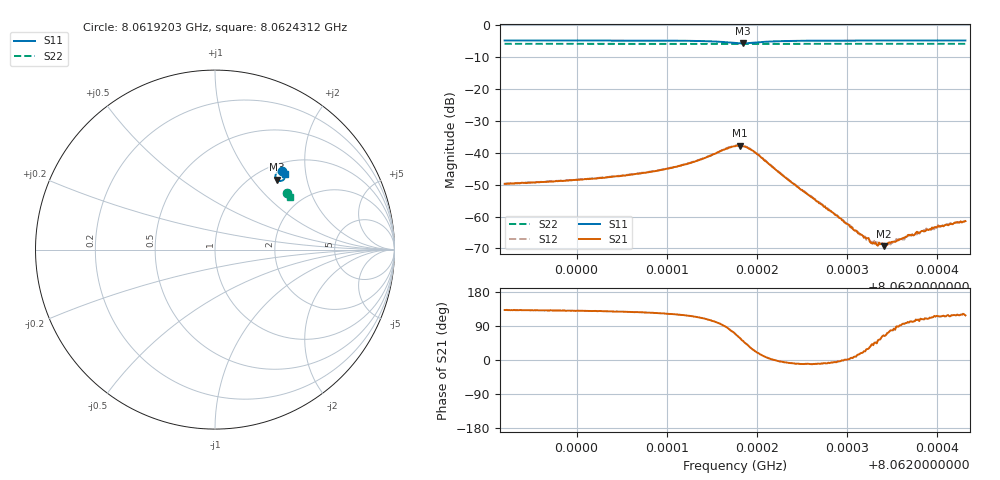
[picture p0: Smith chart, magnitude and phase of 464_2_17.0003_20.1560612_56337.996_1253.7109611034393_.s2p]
#  HZ  S  RI  R  50.00
! Rohde & Schwarz Vector Network Analyzer
! Rohde-Schwarz,ZNB20-2Port,1311601062101988,3.16
! Created: UTC 3/20/2024, 11:12:53 PM
! freq[Hz]  re:S11  im:S11  re:S21  im:S21  re:S12  im:S12  re:S22  im:S22
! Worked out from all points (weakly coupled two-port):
!   401 points, 8.0619203 GHz to 8.0624312 GHz, reference 50 ohm
!   highest |S21| = -37.74 dB at 8.0621808 GHz (marker M1); lowest = -69.3 dB at 8.0623405 GHz (marker M2)
!   lowest |S11| = -5.7 dB at 8.0621847 GHz (marker M3), VSWR 3.17, Z = 62.7 + j67 ohm
!   |S11| at or under -10 dB: nowhere
!   |S22| runs from -5.9 to -5.8 dB; largest |S21 - S12| = 0.0009
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8.06192027e9  0.3718 0.44  -0.00218 0.00242  -0.00202 0.00257  0.4009 0.3161
8.06200585e9  0.3783 0.434  -0.00245 0.00293  -0.00228 0.00308  0.4041 0.3116
8.06205566e9  0.3825 0.429  -0.00269 0.00356  -0.00253 0.00374  0.406 0.309
8.06209143e9  0.3861 0.4237  -0.00293 0.00442  -0.00269 0.00461  0.4073 0.307
8.06212847e9  0.3897 0.4131  -0.00305 0.00639  -0.00269 0.00665  0.4084 0.3048
8.06217573e9  0.3617 0.382  0.00437 0.0119  0.00519 0.0119  0.4084 0.3016
8.06218084e9  0.3514 0.3848  0.00672 0.0111  0.00748 0.0107  0.4081 0.3015
8.06218467e9  0.3444 0.3896  0.00806 0.00971  0.00877 0.00933  0.408 0.3017
8.06219872e9  0.3372 0.4153  0.0092 0.00372  0.00944 0.00324  0.4087 0.3023
8.06223448e9  0.3611 0.4355  0.00376 -0.000502  0.0038 -0.000678  0.411 0.3013
8.06226131e9  0.3708 0.4347  0.00194 -0.000379  0.00197 -0.000485  0.4124 0.2997
8.06232645e9  0.382 0.4299  0.000306 0.000239  0.00035 0.000179  0.415 0.2962
8.06233156e9  0.3824 0.4296  0.00027 0.00028  0.000281 0.000254  0.4152 0.2959
8.0623405e9  0.3836 0.429  0.000145 0.000312  0.000189 0.000322  0.4156 0.2954
8.06234689e9  0.3841 0.4286  0.000101 0.000379  0.000145 0.000344  0.4158 0.2951
8.06235583e9  0.385 0.4278  1.21e-05 0.000427  6.15e-05 0.000422  0.4161 0.2947
8.06236094e9  0.3855 0.4275  -3.5e-05 0.000452  -6.93e-06 0.00044  0.4163 0.2944
8.06236732e9  0.386 0.427  -9.19e-05 0.000504  -5.1e-05 0.000469  0.4166 0.2941
8.06238776e9  0.3878 0.4256  -0.000201 0.000575  -0.000214 0.000615  0.4172 0.2929
8.06239415e9  0.3884 0.4254  -0.00026 0.000622  -0.000196 0.000609  0.4175 0.2927
8.06239925e9  0.3887 0.425  -0.0003 0.0006  -0.000279 0.00063  0.4177 0.2924
8.06243119e9  0.3911 0.4231  -0.000398 0.00075  -0.000343 0.000755  0.4187 0.2906
